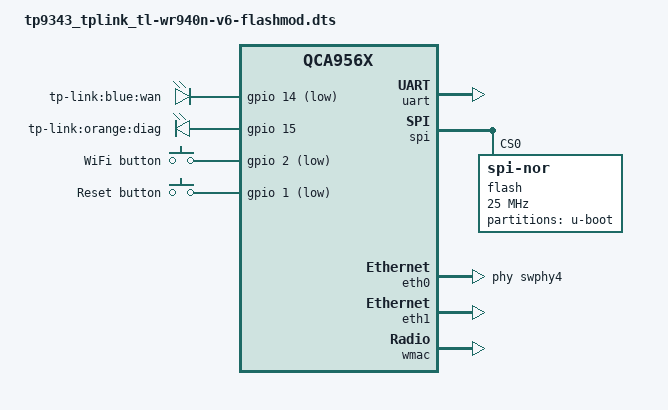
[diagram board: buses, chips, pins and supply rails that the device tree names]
// SPDX-License-Identifier: GPL-2.0-or-later OR MIT
/dts-v1/;

#include <dt-bindings/gpio/gpio.h>
#include <dt-bindings/input/input.h>

#include "qca956x.dtsi"

/ {
	leds {
		compatible = "gpio-leds";

		wan_blue {
			label = "tp-link:blue:wan";
			gpios = <&gpio 14 GPIO_ACTIVE_LOW>;
		};

		led_diag_orange: diag_orange {
			label = "tp-link:orange:diag";
			gpios = <&gpio 15 GPIO_ACTIVE_HIGH>;
			default-state = "on";
		};
	};

	keys {
		compatible = "gpio-keys";

		wifi_button {
			label = "WiFi button";
			linux,code = <KEY_RFKILL>;
			gpios = <&gpio 2 GPIO_ACTIVE_LOW>;
		};

		reset_button {
			label = "Reset button";
			linux,code = <KEY_RESTART>;
			gpios = <&gpio 1 GPIO_ACTIVE_LOW>;
		};
	};

	aliases {
		led-boot = &led_diag_orange;
		led-failsafe = &led_diag_orange;
		led-running = &led_diag_orange;
		led-upgrade = &led_diag_orange;
	};
};

&uart {
	status = "okay";
};

&spi {
	status = "okay";

	num-cs = <1>;

	flash@0 {
		compatible = "jedec,spi-nor";
		reg = <0>;
		spi-max-frequency = <25000000>;

		partitions {
			compatible = "fixed-partitions";
			#address-cells = <1>;
			#size-cells = <1>;

			uboot:	partition@0 {
				label = "u-boot";
				reg = <0x000000 0x020000>;
				read-only;
			};
		};
	};
};

&eth0 {
	status = "okay";

	phy-handle = <&swphy4>;

	mtd-mac-address = <&uboot 0x1fc00>;
	mtd-mac-address-increment = <1>;
};

&eth1 {
	status = "okay";

	mtd-mac-address = <&uboot 0x1fc00>;
};

&wmac {
	status = "okay";

	mtd-cal-data = <&art 0x1000>;
	mtd-mac-address = <&uboot 0x1fc00>;
};
